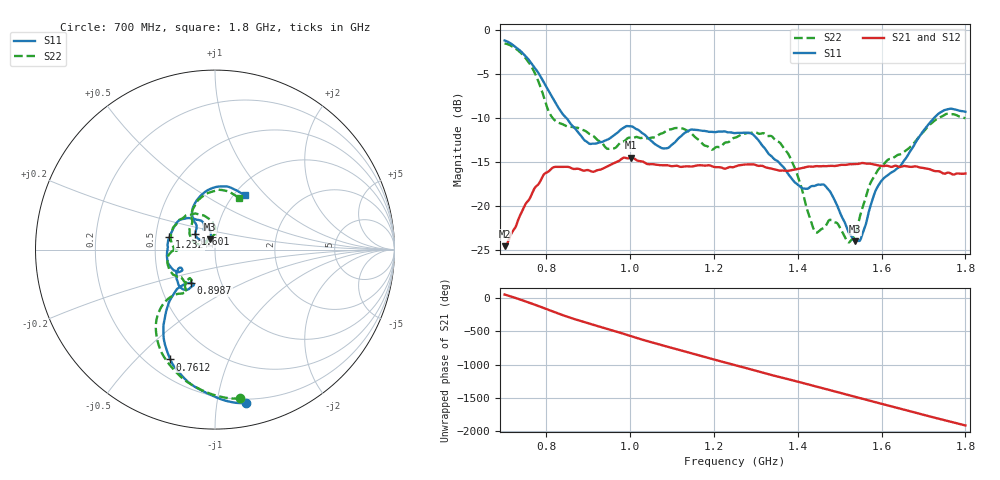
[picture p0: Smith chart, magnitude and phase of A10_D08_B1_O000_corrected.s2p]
! Created with skrf 1.9.0 (http://scikit-rf.org).
# Hz S RI R 50.0
!freq ReS11 ImS11 ReS21 ImS21 ReS12 ImS12 ReS22 ImS22
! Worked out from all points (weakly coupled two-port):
!   1601 points, 700 MHz to 1.8 GHz, reference 50 ohm
!   highest |S21| = -14.49 dB at 1.002 GHz (marker M1); lowest = -24.6 dB at 700.7 MHz (marker M2)
!   lowest |S11| = -24.0 dB at 1.537 GHz (marker M3), VSWR 1.13, Z = 46.9 + j5.32 ohm
!   |S11| at or under -10 dB: 847.7 MHz to 1.725 GHz (877.1 MHz wide, 68.2 % of centre)
!   |S22| runs from -24.1 to -1.5 dB; largest |S21 - S12| = 0.0037
!   S11 on the Smith chart (normalised r, x): 700 MHz: 0.17, -1.21; 761.2 MHz: 0.29, -0.63; 898.7 MHz: 0.72, -0.28; 1.232 GHz: 0.59, +0.09; 1.601 GHz: 0.79, +0.14; 1.8 GHz: 1.12, +0.77
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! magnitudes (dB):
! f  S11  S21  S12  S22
! 700 MHz  -1.2  -24.6  -24.3  -1.5
! 700.7 MHz  -1.2  -24.6  -24.3  -1.5
! 761.2 MHz  -3.6  -19.0  -18.9  -3.9
! 814.8 MHz  -7.7  -15.6  -15.7  -10.0
! 883.6 MHz  -12.1  -15.9  -15.8  -11.3
! 898.7 MHz  -12.8  -15.9  -16.0  -11.7
! 947.5 MHz  -12.4  -15.4  -15.4  -13.5
! 1.002 GHz  -10.9  -14.5  -14.6  -12.3
! 1.067 GHz  -13.2  -15.3  -15.3  -11.9
! 1.232 GHz  -11.6  -15.7  -15.6  -12.8
! 1.25 GHz  -11.7  -15.5  -15.5  -12.2
! 1.292 GHz  -11.8  -15.3  -15.3  -11.6
! 1.359 GHz  -15.2  -16.0  -15.9  -12.9
! 1.394 GHz  -17.4  -15.8  -15.8  -15.9
! 1.434 GHz  -17.7  -15.5  -15.5  -22.1
! 1.473 GHz  -18.1  -15.4  -15.5  -21.7
! 1.537 GHz  -24.0  -15.2  -15.2  -23.3
! 1.572 GHz  -20.2  -15.2  -15.2  -17.6
! 1.601 GHz  -17.1  -15.5  -15.4  -15.5
! 1.617 GHz  -16.4  -15.5  -15.4  -14.7
! 1.735 GHz  -9.5  -16.0  -16.1  -10.0
! 1.8 GHz  -9.3  -16.3  -16.3  -10.0
